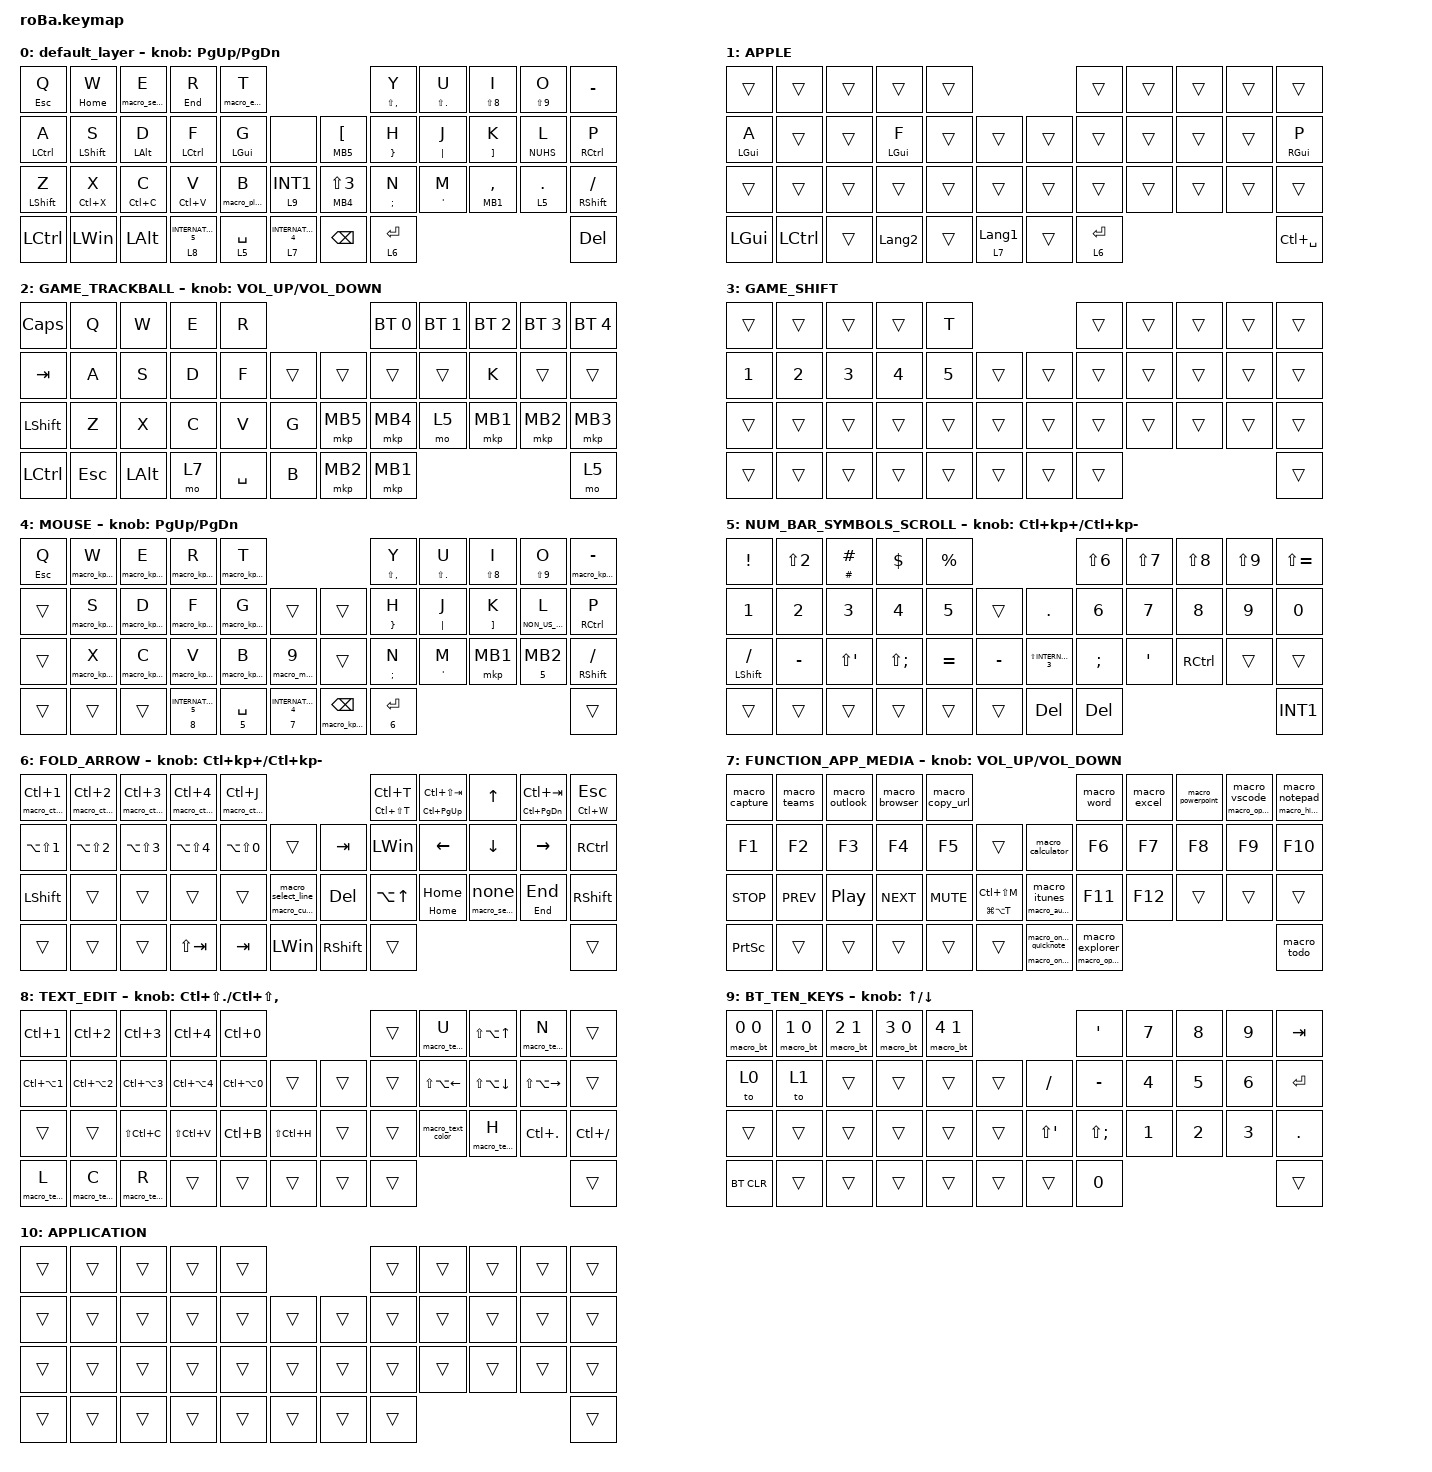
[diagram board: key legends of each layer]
#include <behaviors.dtsi>
#include <dt-bindings/zmk/bt.h>
#include <dt-bindings/zmk/keys.h>
#include <dt-bindings/zmk/pointing.h>

#define MOUSE 4
#define SCROLL 5
#define NUM 6

&mt {
    quick-tap-ms = <220>;
    tapping-term-ms = <220>;
    require-prior-idle-ms = <50>;
};

&lt { require-prior-idle-ms = <100>; };

/ {
    combos {
        compatible = "zmk,combos";

        combo_mb3 {
            bindings = <&mkp MB3>;
            key-positions = <32 30>;
            layers = <4 0 1>;
            require-prior-idle-ms = <80>;
        };

        combo_tog_tenkeys {
            bindings = <&tog 9>;
            key-positions = <1 2 3>;
            layers = <0 9 1 2 4>;
        };

        combo_tog_game_mode {
            bindings = <&tog 2>;
            key-positions = <6 7 8>;
            layers = <0 3 4 2>;
        };

        combo_search_in_browser {
            bindings = <&ap_search 0 0>;
            key-positions = <28 16>;
            require-prior-idle-ms = <150>;
            layers = <0 4>;
            timeout-ms = <150>;
        };

        combo_ctrl_left {
            bindings = <&kp LC(LEFT)>;
            key-positions = <18 19>;
            layers = <6>;
        };

        combo_ctrl_right {
            bindings = <&kp LC(RIGHT)>;
            key-positions = <19 20>;
            layers = <6>;
        };

        combo_f2 {
            bindings = <&kp F2>;
            key-positions = <1 0>;
            layers = <0 1 4>;
            timeout-ms = <120>;
        };

        combo_f3 {
            bindings = <&kp F3>;
            key-positions = <3 4>;
            layers = <0 1 4>;
        };

        combo_f5 {
            bindings = <&kp F5>;
            key-positions = <5 6>;
            layers = <0 1 4>;
            require-prior-idle-ms = <150>;
        };

        combo_doublequate {
            bindings = <&kp LS(N2)>;
            key-positions = <30 31>;
            layers = <0 1 4>;
        };

        combo_underscore {
            bindings = <&kp LS(INTERNATIONAL_1)>;
            key-positions = <32 33>;
            layers = <0 1 4>;
        };

        combo_ctrl_z {
            bindings = <&kp LC(Z)>;
            key-positions = <22 23>;
            layers = <0 4>;
            timeout-ms = <300>;
        };

        combo_ctrl_x {
            bindings = <&kp LC(X)>;
            key-positions = <23 24>;
            layers = <0 4>;
            timeout-ms = <200>;
        };

        combo_ctrl_c {
            bindings = <&kp LC(C)>;
            key-positions = <11 12>;
            layers = <0 4>;
            timeout-ms = <150>;
        };

        combo_ctrl_v {
            bindings = <&kp LC(V)>;
            key-positions = <12 13>;
            layers = <0 4>;
            timeout-ms = <150>;
        };

        combo_ctrl_a {
            bindings = <&kp LC(A)>;
            key-positions = <0 10>;
            require-prior-idle-ms = <200>;
            layers = <0 4>;
            timeout-ms = <150>;
        };

        combo_win_v {
            bindings = <&kp LG(V)>;
            key-positions = <13 14>;
            require-prior-idle-ms = <100>;
            layers = <0 4>;
            timeout-ms = <150>;
        };

        combo_paste_plain_text {
            bindings = <&macro_plain_text>;
            key-positions = <24 25>;
            require-prior-idle-ms = <200>;
            layers = <0 4>;
            timeout-ms = <150>;
        };

        combo_capslock {
            bindings = <&kp LS(CAPS)>;
            key-positions = <0 34>;
            layers = <0 1 4>;
            timeout-ms = <150>;
        };

        combo_teams_rich_textbox {
            bindings = <&kp LC(LS(X))>;
            key-positions = <0 9>;
            require-prior-idle-ms = <120>;
            layers = <0 4>;
            timeout-ms = <150>;
        };

        combo_alt_f4 {
            bindings = <&kp LA(F4)>;
            key-positions = <9 42>;
            layers = <0 4>;
            require-prior-idle-ms = <400>;
        };

        combo_mouse_move_window {
            bindings = <&macro_mouse_move_window>;
            key-positions = <6 8>;
            require-prior-idle-ms = <200>;
            layers = <6 4>;
        };

        combo_mouse_window_rd {
            bindings = <&macro_mouse_window_rd>;
            key-positions = <8 7>;
            require-prior-idle-ms = <200>;
            layers = <6 4>;
        };

        combo_mouse_window_ul {
            bindings = <&macro_mouse_window_ul>;
            key-positions = <6 7>;
            require-prior-idle-ms = <200>;
            layers = <6 4>;
        };

        combo_max_windows {
            bindings = <&kp LG(UP_ARROW)>;
            key-positions = <8 9>;
            require-prior-idle-ms = <200>;
            layers = <0 4>;
            timeout-ms = <120>;
        };

        combo_min_window {
            bindings = <&kp LG(DOWN)>;
            key-positions = <21 20>;
            require-prior-idle-ms = <200>;
            layers = <0 4>;
            timeout-ms = <120>;
        };

        combo_repop_window {
            bindings = <&kp LA(TAB)>;
            key-positions = <21 9>;
            layers = <0 4>;
            timeout-ms = <150>;
        };

        combo_snap_right_window {
            bindings = <&kp LG(RIGHT)>;
            key-positions = <9 8>;
            layers = <6>;
        };

        combo_snap_left_window {
            bindings = <&kp LG(LEFT)>;
            key-positions = <5 6>;
            layers = <6>;
        };

        combo_window_spin_move {
            bindings = <&kp LS(LG(LEFT))>;
            key-positions = <20 18>;
            layers = <6>;
        };

        combo_select_window_right {
            bindings = <&kp LC(LA(TAB))>;
            key-positions = <32 31>;
            layers = <6>;
        };

        combo_select_window_left {
            bindings = <&kp LC(LS(LA(TAB)))>;
            key-positions = <31 30>;
            layers = <6>;
        };

        combo_savein_million {
            bindings = <&macro_savein_million>;
            key-positions = <17 18>;
            timeout-ms = <300>;
            layers = <6>;
        };

        combo_savein_takane {
            bindings = <&macro_savein_takane>;
            key-positions = <29 30>;
            timeout-ms = <150>;
            layers = <6>;
        };

        combo_savein_miki {
            bindings = <&macro_savein_miki>;
            key-positions = <17 16>;
            timeout-ms = <150>;
            layers = <6>;
        };

        combo_multi {
            bindings = <&macro_savein_multi>;
            key-positions = <29 28>;
            timeout-ms = <150>;
            layers = <6>;
        };

        combo_search {
            bindings = <&macro_copy_search_internet>;
            key-positions = <16 28>;
            layers = <6>;
            timeout-ms = <120>;
        };

        combo_clear_all_profiles {
            bindings = <&bt BT_CLR_ALL>;
            key-positions = <34 36>;
            layers = <9>;
            require-prior-idle-ms = <200>;
        };

        combo_ctrl_scroll {
            bindings = <&macro_ctrl_scroll 5>;
            key-positions = <32 31>;
            require-prior-idle-ms = <80>;
            layers = <4 0 1>;
        };
    };

    macros {
        to_layer_0: to_layer_0 {
            compatible = "zmk,behavior-macro-one-param";
            #binding-cells = <1>;
            bindings = <&to 0 &macro_param_1to1 &kp MACRO_PLACEHOLDER>;
            label = "TO_LAYER_0";
        };

        to_layer_1: to_layer_1 {
            compatible = "zmk,behavior-macro-one-param";
            #binding-cells = <1>;
            bindings = <&to 1 &macro_param_1to1 &kp MACRO_PLACEHOLDER>;
            label = "TO_LAYER_1";
        };

        macro_mkp_tap: macro_mkp_tap {
            compatible = "zmk,behavior-macro-one-param";
            #binding-cells = <1>;
            bindings = <&macro_param_1to1 &mkp MACRO_PLACEHOLDER>;
            label = "MACRO_MKP_TAP";
        };

        macro_kp_tap: macro_kp_tap {
            compatible = "zmk,behavior-macro-one-param";
            #binding-cells = <1>;
            bindings = <&macro_param_1to1 &kp MACRO_PLACEHOLDER>;
            label = "MACRO_KP_TAP";
        };

        macro_bt: macro_bt {
            compatible = "zmk,behavior-macro-two-param";
            #binding-cells = <2>;
            bindings = <&macro_param_1to2 &bt BT_SEL MACRO_PLACEHOLDER &macro_param_2to1 &to MACRO_PLACEHOLDER>;
            label = "MACRO_BT";
        };

        macro_mouse_move_window: macro_mouse_move_window {
            compatible = "zmk,behavior-macro";
            #binding-cells = <0>;
            bindings =
                <&kp INTERNATIONAL_5 &kp LA(SPACE)>,
                <&macro_wait_time 150>,
                <&kp M &kp UP_ARROW &kp DOWN_ARROW>;

            label = "MACRO_MOUSE_MOVE_WINDOW";
        };

        macro_mouse_window_ul: macro_mouse_window_ul {
            compatible = "zmk,behavior-macro";
            #binding-cells = <0>;
            bindings =
                <&kp INTERNATIONAL_5 &kp LA(SPACE)>,
                <&macro_wait_time 150>,
                <&kp S &kp LEFT_ARROW &kp UP_ARROW>;

            label = "MACRO_MOUSE_WINDOW_UL";
        };

        macro_mouse_window_rd: macro_mouse_window_rd {
            compatible = "zmk,behavior-macro";
            #binding-cells = <0>;
            bindings =
                <&kp INTERNATIONAL_5 &kp LA(SPACE)>,
                <&macro_wait_time 150>,
                <&kp S &kp RIGHT &kp DOWN_ARROW>;

            label = "MACRO_MOUSE_WINDOW_RD";
        };

        macro_plain_text: macro_plain_text {
            compatible = "zmk,behavior-macro";
            #binding-cells = <0>;
            bindings =
                <&kp LG(V)>,
                <&macro_wait_time 450>,
                <&kp LCTRL &kp TAB>,
                <&macro_wait_time 150>,
                <&kp LCTRL &kp ENTER>,
                <&macro_wait_time 200>,
                <&kp LCTRL &kp ENTER>;

            label = "MACRO_PLAIN_TEXT";
        };

        macro_brackets: macro_brackets {
            compatible = "zmk,behavior-macro";
            #binding-cells = <0>;
            bindings = <&kp RIGHT_BRACKET &kp NUHS &kp LEFT>;
            label = "MACRO_BRACKETS";
        };

        macro_braces: macro_braces {
            compatible = "zmk,behavior-macro";
            #binding-cells = <0>;
            bindings = <&kp RIGHT_BRACE &kp PIPE &kp LEFT>;
            label = "MACRO_BRACES";
        };

        macro_parenthesis: macro_parenthesis {
            compatible = "zmk,behavior-macro";
            #binding-cells = <0>;
            bindings = <&kp LS(N8) &kp LS(N9) &kp LEFT>;
            label = "MACRO_PARENTHESIS";
        };

        macro_gt_lt: macro_gt_lt {
            compatible = "zmk,behavior-macro";
            #binding-cells = <0>;
            bindings = <&kp LS(COMMA) &kp LS(PERIOD) &kp LEFT>;
            label = "MACRO_GT_LT";
        };

        macro_home_end_select: macro_home_end_select {
            compatible = "zmk,behavior-macro-one-param";
            #binding-cells = <1>;
            bindings = <&kt LEFT_SHIFT &macro_param_1to1 &kp MACRO_PLACEHOLDER &kt LEFT_SHIFT &kp LC(C)>;
            label = "MACRO_HOME_END_SELECT";
        };

        macro_select_line: macro_select_line {
            compatible = "zmk,behavior-macro";
            #binding-cells = <0>;
            bindings = <&kp HOME &kt LEFT_SHIFT &kp END &kt LEFT_SHIFT &kp LC(C)>;
            label = "MACRO_SELECT_LINE";
        };

        macro_emacs_k_cut: macro_emacs_k_cut {
            compatible = "zmk,behavior-macro";
            #binding-cells = <0>;
            bindings = <&kt LEFT_SHIFT &kp END &kt LEFT_SHIFT &kp LC(X)>;
            label = "MACRO_EMACS_K_CUT";
        };

        macro_cut_line: macro_cut_line {
            compatible = "zmk,behavior-macro";
            #binding-cells = <0>;
            bindings = <&kp HOME &kt LEFT_SHIFT &kp END &kp RIGHT &kt LEFT_SHIFT &kp LC(X)>;
            label = "MACRO_CUT_LINE";
        };

        macro_insert_at_head: macro_insert_at_head {
            compatible = "zmk,behavior-macro-one-param";
            #binding-cells = <1>;
            bindings = <&kp INTERNATIONAL_5 &kt LEFT_SHIFT &kp HOME &kt LEFT_SHIFT &kp LC(X) &macro_param_1to1 &kp MACRO_PLACEHOLDER &kp SPACE &kp LC(V)>;
            label = "MACRO_INSERT_AT_HEAD";
        };

        macro_delete_at_head: macro_delete_at_head {
            compatible = "zmk,behavior-macro";
            #binding-cells = <0>;
            bindings = <&kp INTERNATIONAL_5 &kt LEFT_SHIFT &kp HOME &kp RIGHT &kp RIGHT &kt LSHFT &kp LC(X) &kp BACKSPACE &kp BACKSPACE &kp LC(V)>;
            label = "MACRO_DELETE_AT_HEAD";
        };

        macro_ascii_type: macro_ascii_type {
            compatible = "zmk,behavior-macro-one-param";
            #binding-cells = <1>;
            bindings = <&kp INT_MUHENKAN &macro_param_1to1 &kp MACRO_PLACEHOLDER>;
            label = "MACRO_ASCII_TYPE";
        };

        macro_kp_togoff: macro_kp_togoff {
            compatible = "zmk,behavior-macro-one-param";
            #binding-cells = <1>;
            bindings = <&togoff 4 &macro_param_1to1 &kp MACRO_PLACEHOLDER>;
            label = "MACRO_KP_TOGOFF";
        };

        macro_mkp_togoff: macro_mkp_togoff {
            compatible = "zmk,behavior-macro-one-param";
            #binding-cells = <1>;
            bindings = <&togoff 4 &macro_param_1to1 &mkp MACRO_PLACEHOLDER>;
            label = "MACRO_MKP_TOGOFF";
        };

        macro_copy_url: macro_copy_url {
            compatible = "zmk,behavior-macro";
            #binding-cells = <0>;
            bindings = <&kp LC(L) &kp LC(C) &kp ESCAPE>;
            label = "MACRO_COPY_URL";
        };

        macro_text_color: macro_text_color {
            compatible = "zmk,behavior-macro";
            #binding-cells = <0>;
            bindings =
                <&kp LA(H)>,
                <&macro_wait_time 50>,
                <&kp F &kp C &kp DOWN_ARROW &kp DOWN_ARROW &kp DOWN_ARROW &kp DOWN &kp DOWN_ARROW &kp DOWN>;

            label = "MACRO_TEXT_COLOR";
        };

        macro_text_align: macro_text_align {
            compatible = "zmk,behavior-macro-one-param";
            #binding-cells = <1>;
            bindings =
                <&kp LA(H)>,
                <&macro_wait_time 50>,
                <&kp A &macro_param_1to1 &kp MACRO_PLACEHOLDER>;

            label = "MACRO_TEXT_ALIGN";
        };

        macro_text_deco: macro_text_deco {
            compatible = "zmk,behavior-macro-one-param";
            #binding-cells = <1>;
            bindings =
                <&kp LA(H)>,
                <&macro_wait_time 50>,
                <&macro_param_1to1 &kp MACRO_PLACEHOLDER>;

            label = "MACRO_TEXT_DECO";
        };

        macro_ctrl_k_kp: macro_ctrl_k_ctrl {
            compatible = "zmk,behavior-macro-one-param";
            #binding-cells = <1>;
            bindings = <&kp LC(K) &macro_param_1to1 &kp MACRO_PLACEHOLDER>;
            label = "MACRO_CTRL_K_CTRL";
        };

        macro_mo_togoff: macro_mo_togoff {
            compatible = "zmk,behavior-macro-one-param";
            #binding-cells = <1>;
            bindings =
                <&macro_press>,
                <&macro_param_1to1 &mo MACRO_PLACEHOLDER>,
                <&macro_pause_for_release>,
                <&macro_release>,
                <&macro_param_1to1 &mo MACRO_PLACEHOLDER>,
                <&macro_tap>,
                <&togoff 4>;

            label = "MACRO_MO_TOGOFF";
        };

        macro_togoff_tog: macro_togoff_tog {
            compatible = "zmk,behavior-macro-one-param";
            #binding-cells = <1>;
            bindings = <&togoff 4 &macro_param_1to1 &tog MACRO_PLACEHOLDER>;
            label = "MACRO_TOGOFF_TOG";
        };

        macro_mkp_togoff_sl: macro_mkp_togoff_sl {
            compatible = "zmk,behavior-macro-one-param";
            #binding-cells = <1>;
            bindings =
                <&macro_press>,
                <&macro_param_1to1 &mkp MACRO_PLACEHOLDER>,
                <&macro_pause_for_release>,
                <&macro_release>,
                <&macro_param_1to1 &mkp MACRO_PLACEHOLDER>,
                <&macro_tap>,
                <&sl_short 4>;

            label = "MACRO_MKP_TOGOFF_SL";
        };

        macro_browser: macro_browser {
            compatible = "zmk,behavior-macro";
            #binding-cells = <0>;
            bindings =
                <&kp INTERNATIONAL_5 &kp LG(R)>,
                <&macro_wait_time 200>,
                <&kp LCTRL &kp H &kp T &kp T &kp P &kp SQT &kp FSLH &kp FSLH &kp ENTER>;

            label = "MACRO_BROWSER";
        };

        macro_calculator: macro_calculator {
            compatible = "zmk,behavior-macro";
            #binding-cells = <0>;
            bindings =
                <&kp INTERNATIONAL_5 &kp LG(R)>,
                <&macro_wait_time 200>,
                <&kp LCTRL &kp C &kp A &kp L &kp C &kp ENTER>;

            label = "MACRO_CALCULATOR";
        };

        macro_onenote: macro_onenote {
            compatible = "zmk,behavior-macro";
            #binding-cells = <0>;
            bindings =
                <&kp INTERNATIONAL_5 &kp LG(R)>,
                <&macro_wait_time 200>,
                <&kp LCTRL &kp O &kp N &kp E &kp N &kp O &kp T &kp E &kp ENTER>;

            label = "MACRO_ONENOTE";
        };

        macro_teams: macro_teams {
            compatible = "zmk,behavior-macro";
            #binding-cells = <0>;
            bindings =
                <&kp INTERNATIONAL_5 &kp LG(R)>,
                <&macro_wait_time 200>,
                <&kp LCTRL &kp M &kp S &kp MINUS &kp T &kp E &kp A &kp M &kp S &kp ENTER>;

            label = "MACRO_TEAMS";
        };

        macro_outlook: macro_outlook {
            compatible = "zmk,behavior-macro";
            #binding-cells = <0>;
            bindings =
                <&kp LG(R)>,
                <&macro_wait_time 200>,
                <&kp RCTRL &kp O &kp U &kp T &kp L &kp O &kp O &kp K &kp ENTER>;

            label = "MACRO_OUTLOOK";
        };

        macro_word: macro_word {
            compatible = "zmk,behavior-macro";
            #binding-cells = <0>;
            bindings =
                <&kp INTERNATIONAL_5 &kp LG(R)>,
                <&macro_wait_time 200>,
                <&kp LCTRL &kp W &kp I &kp N &kp W &kp O &kp R &kp D &kp ENTER>;

            label = "MACRO_WORD";
        };

        macro_excel: macro_app_excel {
            compatible = "zmk,behavior-macro";
            #binding-cells = <0>;
            bindings =
                <&kp INTERNATIONAL_5 &kp LG(R)>,
                <&macro_wait_time 200>,
                <&kp LCTRL &kp E &kp X &kp C &kp E &kp L &kp ENTER>;

            label = "MACRO_APP_EXCEL";
        };

        macro_powerpoint: macro_powerpoint {
            compatible = "zmk,behavior-macro";
            #binding-cells = <0>;
            bindings =
                <&kp INTERNATIONAL_5 &kp LG(R)>,
                <&macro_wait_time 200>,
                <&kp LCTRL &kp P &kp O &kp W &kp E &kp R &kp P &kp N &kp T &kp ENTER>;

            label = "MACRO_POWERPOINT";
        };

        macro_capture: macro_capture {
            compatible = "zmk,behavior-macro";
            #binding-cells = <0>;
            bindings =
                <&kp INTERNATIONAL_5 &kp LG(R)>,
                <&macro_wait_time 200>,
                <&kp LCTRL &kp S &kp N &kp I &kp P &kp P &kp I &kp N &kp G &kp T &kp O &kp O &kp L &kp ENTER>;

            label = "MACRO_CAPTURE";
        };

        macro_itunes: macro_itunes {
            compatible = "zmk,behavior-macro";
            #binding-cells = <0>;
            bindings =
                <&kp INTERNATIONAL_5 &kp LG(R)>,
                <&macro_wait_time 200>,
                <&kp LCTRL &kp I &kp T &kp U &kp N &kp E &kp S &kp ENTER>;

            label = "MACRO_ITUNES";
        };

        macro_vscode: macro_vscode {
            compatible = "zmk,behavior-macro";
            #binding-cells = <0>;
            bindings =
                <&kp INTERNATIONAL_5 &kp LG(R)>,
                <&macro_wait_time 200>,
                <&kp LCTRL &kp C &kp O &kp D &kp E &kp ENTER>;

            label = "MACRO_VSCODE";
        };

        macro_notepad: macro_notepad {
            compatible = "zmk,behavior-macro";
            #binding-cells = <0>;
            bindings =
                <&kp INTERNATIONAL_5 &kp LG(R)>,
                <&macro_wait_time 200>,
                <&kp LCTRL &kp N &kp O &kp T &kp E &kp P &kp A &kp D &kp ENTER>;

            label = "MACRO_NOTEPAD";
        };

        macro_hidemaru: macro_hidemaru {
            compatible = "zmk,behavior-macro";
            #binding-cells = <0>;
            bindings =
                <&kp LC(C) &kp INTERNATIONAL_5 &kp LG(R)>,
                <&macro_wait_time 200>,
                <&kp LCTRL &kp H &kp I &kp D &kp E &kp M &kp A &kp R &kp U &kp ENTER>,
                <&macro_wait_time 200>,
                <&kp LC(V)>;

            label = "MACRO_HIDEMARU";
        };

        macro_audirvana: macro_audirvana {
            compatible = "zmk,behavior-macro";
            #binding-cells = <0>;
            bindings =
                <&kp INTERNATIONAL_5 &kp LG(R)>,
                <&macro_wait_time 200>,
                <&kp LCTRL &kp A &kp U &kp D &kp I &kp R &kp V &kp A &kp N &kp A &kp ENTER>;

            label = "MACRO_AUDIRVANA";
        };

        macro_todo: macro_todo {
            compatible = "zmk,behavior-macro";
            #binding-cells = <0>;
            bindings =
                <&kp INTERNATIONAL_5 &kp LG(R)>,
                <&macro_wait_time 200>,
                <&kp LCTRL &kp T &kp O &kp D &kp O &kp ENTER>;

            label = "MACRO_TODO";
        };

        macro_copy_search_internet: macro_copy_search_internet {
            compatible = "zmk,behavior-macro";
            #binding-cells = <0>;
            bindings =
                <&kp LC(C) &kp LG(R)>,
                <&macro_wait_time 200>,
                <&kp LCTRL &kp H &kp T &kp T &kp P &kp SQT &kp FSLH &kp FSLH &kp G &kp O &kp O &kp G &kp L &kp E &kp DOT &kp C &kp O &kp M &kp FSLH &kp S &kp E &kp A &kp R &kp C &kp H &kp LS(SLASH) &kp Q &kp LS(MINUS) &kp LC(V) &kp ENTER>;

            label = "MACRO_COPY_SEARCH_INTERNET";
        };

        macro_copy_search_in_app: macro_copy_search_in_app {
            compatible = "zmk,behavior-macro";
            #binding-cells = <0>;
            bindings = <&kp LC(C) &kp LC(E) &kp LC(V) &kp ENTER>;
            label = "MACRO_COPY_SEARCH_IN_APP";
        };

        macro_onenote_quicknote: macro_onenote_quicknote {
            compatible = "zmk,behavior-macro";
            #binding-cells = <0>;
            bindings = <&kp LA(LG(N))>;
            label = "MACRO_ONENOTE_QUICKNOTE";
        };

        macro_open_in_vscode: macro_open_in_vscode {
            compatible = "zmk,behavior-macro";
            #binding-cells = <0>;
            bindings =
                <&kp K_CMENU &kp RCTRL>,
                <&macro_wait_time 400>,
                <&kp RCTRL &kp UP_ARROW &kp ENTER>,
                <&macro_wait_time 250>,
                <&kp RCTRL &kp C>;

            label = "MACRO_OPEN_IN_VSCODE";
        };

        macro_open_in_sharepoint: macro_open_in_sharepoint {
            compatible = "zmk,behavior-macro";
            #binding-cells = <0>;
            bindings =
                <&kp K_CMENU &kp RCTRL>,
                <&macro_wait_time 400>,
                <&kp RCTRL &kp UP_ARROW &kp ENTER>,
                <&macro_wait_time 250>,
                <&kp RCTRL &kp V &kp V &kp ENTER>;

            label = "MACRO_OPEN_IN_SHAREPOINT";
        };

        macro_explorer: macro_explorer {
            compatible = "zmk,behavior-macro";
            #binding-cells = <0>;
            bindings = <&kp LG(E)>;
            label = "MACRO_EXPLORER";
        };

        macro_savein_million: macro_savein_million {
            compatible = "zmk,behavior-macro";
            #binding-cells = <0>;
            bindings =
                <&mkp MB2>,
                <&macro_wait_time 50>,
                <&kp E &kp DOWN_ARROW>;

            label = "MACRO_SAVEIN_MILLION";
        };

        macro_savein_takane: macro_savein_takane {
            compatible = "zmk,behavior-macro";
            #binding-cells = <0>;
            bindings =
                <&mkp MB2>,
                <&macro_wait_time 50>,
                <&kp E &kp DOWN_ARROW &kp DOWN_ARROW &kp DOWN_ARROW &kp DOWN_ARROW &kp DOWN_ARROW &kp DOWN_ARROW &kp DOWN_ARROW>;

            label = "MACRO_SAVEIN_TAKANE";
        };

        macro_savein_miki: macro_savein_miki {
            compatible = "zmk,behavior-macro";
            #binding-cells = <0>;
            bindings =
                <&mkp MB2>,
                <&macro_wait_time 50>,
                <&kp E &kp DOWN_ARROW &kp DOWN_ARROW &kp DOWN_ARROW &kp DOWN_ARROW &kp DOWN_ARROW &kp DOWN_ARROW &kp DOWN_ARROW &kp DOWN_ARROW &kp DOWN &kp DOWN_ARROW &kp DOWN_ARROW &kp DOWN_ARROW>;

            label = "MACRO_SAVEIN_MIKI";
        };

        macro_savein_multi: macro_savein_multi {
            compatible = "zmk,behavior-macro";
            #binding-cells = <0>;
            bindings =
                <&mkp MB2>,
                <&macro_wait_time 50>,
                <&kp E &kp DOWN_ARROW &kp DOWN_ARROW &kp DOWN_ARROW &kp DOWN_ARROW &kp DOWN_ARROW &kp DOWN_ARROW &kp DOWN_ARROW &kp DOWN_ARROW &kp DOWN &kp DOWN_ARROW &kp DOWN_ARROW &kp DOWN_ARROW &kp DOWN_ARROW &kp DOWN_ARROW &kp DOWN_ARROW &kp DOWN_ARROW &kp DOWN_ARROW &kp DOWN_ARROW &kp DOWN_ARROW>;

            label = "MACRO_SAVEIN_MULTI";
        };

        macro_ctrl_scroll: macro_ctrl_scroll {
            compatible = "zmk,behavior-macro-one-param";
            #binding-cells = <1>;
            bindings =
                <&macro_press>,
                <&kp LCTRL &macro_param_1to1 &mo MACRO_PLACEHOLDER>,
                <&macro_pause_for_release>,
                <&macro_release>,
                <&macro_param_1to1 &mo MACRO_PLACEHOLDER &kp LCTRL>;

            label = "MACRO_CTRL_SCROLL";
        };

        to_layer_2: to_layer_2 {
            compatible = "zmk,behavior-macro-one-param";
            #binding-cells = <1>;
            bindings = <&to 2 &macro_param_1to1 &kp MACRO_PLACEHOLDER>;
            label = "TO_LAYER_2";
        };
    };

    behaviors {
        mmb: mmb {
            compatible = "zmk,behavior-hold-tap";
            label = "MMB";
            bindings = <&macro_mkp_tap>, <&kp>;

            #binding-cells = <2>;
            tapping-term-ms = <200>;
            flavor = "tap-preferred";
            require-prior-idle-ms = <150>;
        };

        lt_hold_qt: lt_hold_qt {
            compatible = "zmk,behavior-hold-tap";
            label = "LT_HOLD_QT";
            bindings = <&mo>, <&kp>;

            #binding-cells = <2>;
            tapping-term-ms = <220>;
            require-prior-idle-ms = <50>;
            quick-tap-ms = <200>;
        };

        lt_tap_qt: lt_tap_qt {
            compatible = "zmk,behavior-hold-tap";
            label = "LT_TAP_QT";
            bindings = <&mo>, <&kp>;

            #binding-cells = <2>;
            tapping-term-ms = <220>;
            quick-tap-ms = <200>;
            require-prior-idle-ms = <50>;
            flavor = "tap-preferred";
        };

        mt_norepeat: mt_norepeat {
            compatible = "zmk,behavior-hold-tap";
            label = "MT_NOREPEAT";
            bindings = <&macro_kp_tap>, <&kp>;

            #binding-cells = <2>;
            tapping-term-ms = <280>;
            flavor = "tap-preferred";
            require-prior-idle-ms = <60>;
        };

        mt_long: mt_long {
            compatible = "zmk,behavior-hold-tap";
            label = "MT_LONG";
            bindings = <&kp>, <&kp>;

            #binding-cells = <2>;
            tapping-term-ms = <300>;
            flavor = "tap-preferred";
            retro-tap;
            require-prior-idle-ms = <120>;
        };

        togoff: togoff {
            compatible = "zmk,behavior-toggle-layer";
            label = "TOGOFF";
            #binding-cells = <1>;
            toggle-mode = "off";
        };

        sl_short: sl_short {
            compatible = "zmk,behavior-sticky-key";
            label = "SL_SHORT";
            bindings = <&mo>;
            #binding-cells = <1>;
            release-after-ms = <300>;
            quick-release;
        };

        lt_layer: lt_layer {
            compatible = "zmk,behavior-hold-tap";
            label = "LT_LAYER";
            bindings = <&mo>, <&tog>;

            #binding-cells = <2>;
            tapping-term-ms = <200>;
        };

        lt_togoff: lt_togoff {
            compatible = "zmk,behavior-hold-tap";
            label = "LT_TOGOFF";
            bindings = <&macro_mo_togoff>, <&macro_kp_togoff>;

            #binding-cells = <2>;
            tapping-term-ms = <200>;
        };

        mt_togoff: mt_togoff {
            compatible = "zmk,behavior-hold-tap";
            label = "MT_TOGOFF";
            bindings = <&macro_kp_togoff>, <&macro_kp_togoff>;

            #binding-cells = <2>;
            tapping-term-ms = <250>;
            flavor = "tap-preferred";
            require-prior-idle-ms = <60>;
        };

        lt_mkp_togoff: lt_mkp_togoff {
            compatible = "zmk,behavior-hold-tap";
            label = "LT_MKP_TOGOFF";
            bindings = <&macro_mo_togoff>, <&macro_mkp_togoff_sl>;

            #binding-cells = <2>;
            tapping-term-ms = <120>;
        };

        lt_layer_togoff: lt_layer_togoff {
            compatible = "zmk,behavior-hold-tap";
            label = "LT_LAYER_TOGOFF";
            bindings = <&macro_mo_togoff>, <&macro_togoff_tog>;

            #binding-cells = <2>;
            tapping-term-ms = <200>;
        };

        lt_to_layer_0: lt_to_layer_0 {
            compatible = "zmk,behavior-hold-tap";
            label = "LAYER_TAP_TO_0";
            bindings = <&mo>, <&to_layer_0>;

            #binding-cells = <2>;
            tapping-term-ms = <140>;
        };

        lt_to_layer_1: lt_to_layer_1 {
            compatible = "zmk,behavior-hold-tap";
            label = "LT_TO_LAYER_1";
            bindings = <&mo>, <&to_layer_1>;

            #binding-cells = <2>;
            tapping-term-ms = <140>;
        };

        sc_sel_line: sc_sel_line {
            compatible = "zmk,behavior-hold-tap";
            label = "SC_SEL_LINE";
            bindings = <&macro_select_line>, <&kp>;

            #binding-cells = <2>;
            tapping-term-ms = <250>;
            flavor = "tap-preferred";
            require-prior-idle-ms = <60>;
        };

        sc_sel_line_none: sc_sel_line_none {
            compatible = "zmk,behavior-hold-tap";
            label = "SC_SEL_LINE_NONE";
            bindings = <&macro_select_line>, <&none>;

            #binding-cells = <2>;
            tapping-term-ms = <400>;
            flavor = "tap-preferred";
        };

        sc_emacs: sc_emacs {
            compatible = "zmk,behavior-hold-tap";
            label = "SC_EMACS";
            bindings = <&macro_emacs_k_cut>, <&kp>;

            #binding-cells = <2>;
            tapping-term-ms = <250>;
            flavor = "tap-preferred";
            require-prior-idle-ms = <60>;
        };

        sc_sel_cut_line: sc_sel_cut_line {
            compatible = "zmk,behavior-hold-tap";
            label = "SC_SEL_CUT_LINE";
            bindings = <&macro_cut_line>, <&macro_select_line>;

            #binding-cells = <2>;
            tapping-term-ms = <250>;
            flavor = "tap-preferred";
            require-prior-idle-ms = <60>;
        };

        mat_inset_at_head: mat_inset_at_head {
            compatible = "zmk,behavior-hold-tap";
            label = "MAT_INSET_AT_HEAD";
            bindings = <&macro_insert_at_head>, <&kp>;

            #binding-cells = <2>;
            tapping-term-ms = <200>;
            flavor = "tap-preferred";
            require-prior-idle-ms = <100>;
        };

        mat_home_end_select: mat_home_end_select {
            compatible = "zmk,behavior-hold-tap";
            label = "MAT_HOME_END_SELECT";
            bindings = <&macro_home_end_select>, <&kp>;

            #binding-cells = <2>;
            tapping-term-ms = <200>;
            flavor = "tap-preferred";
        };

        sc_brace: sc_brace {
            compatible = "zmk,behavior-hold-tap";
            label = "SC_BRACE";
            bindings = <&macro_braces>, <&kp>;

            #binding-cells = <2>;
            tapping-term-ms = <150>;
            flavor = "tap-preferred";
        };

        sc_bracket: sc_bracket {
            compatible = "zmk,behavior-hold-tap";
            label = "SC_BRACKET";
            bindings = <&macro_brackets>, <&kp>;

            #binding-cells = <2>;
            tapping-term-ms = <200>;
            flavor = "tap-preferred";
        };

        sc_parenthesis: sc_parenthesis {
            compatible = "zmk,behavior-hold-tap";
            label = "SC_PARENTHESIS";
            bindings = <&macro_parenthesis>, <&kp>;

            #binding-cells = <2>;
            tapping-term-ms = <200>;
            flavor = "tap-preferred";
        };

        sc_gt_lt: sc_gt_lt {
            compatible = "zmk,behavior-hold-tap";
            label = "SC_GT_LT";
            bindings = <&macro_gt_lt>, <&kp>;

            #binding-cells = <2>;
            tapping-term-ms = <150>;
            flavor = "tap-preferred";
        };

        ap_music: ap_music {
            compatible = "zmk,behavior-hold-tap";
            label = "AP_MUSIC";
            bindings = <&macro_audirvana>, <&macro_itunes>;

            #binding-cells = <2>;
            tapping-term-ms = <400>;
            flavor = "tap-preferred";
        };

        ap_onenote: ap_onenote {
            compatible = "zmk,behavior-hold-tap";
            label = "AP_ONENOTE";
            bindings = <&macro_onenote>, <&macro_onenote_quicknote>;

            #binding-cells = <2>;
            tapping-term-ms = <400>;
            require-prior-idle-ms = <50>;
            flavor = "tap-preferred";
        };

        ap_editor: ap_editor {
            compatible = "zmk,behavior-hold-tap";
            label = "AP_EDITOR";
            bindings = <&macro_hidemaru>, <&macro_notepad>;

            #binding-cells = <2>;
            tapping-term-ms = <400>;
            require-prior-idle-ms = <50>;
            flavor = "tap-preferred";
        };

        ap_vscode: ap_vscode {
            compatible = "zmk,behavior-hold-tap";
            label = "AP_VSCODE";
            bindings = <&macro_open_in_vscode>, <&macro_vscode>;

            #binding-cells = <2>;
            tapping-term-ms = <400>;
            require-prior-idle-ms = <50>;
            flavor = "tap-preferred";
        };

        ap_explorer: ap_explorer {
            compatible = "zmk,behavior-hold-tap";
            label = "AP_EXPLORER";
            bindings = <&macro_open_in_sharepoint>, <&macro_explorer>;

            #binding-cells = <2>;
            tapping-term-ms = <400>;
            require-prior-idle-ms = <50>;
            flavor = "tap-preferred";
        };

        ap_search: ap_search {
            compatible = "zmk,behavior-hold-tap";
            label = "AP_SEARCH";
            bindings =
                <&macro_copy_search_internet>,
                <&macro_copy_search_in_app>;

            #binding-cells = <2>;
            tapping-term-ms = <400>;
            flavor = "tap-preferred";
            require-prior-idle-ms = <200>;
        };

        mt_z: mt_z {
            compatible = "zmk,behavior-hold-tap";
            label = "MT_Z";
            bindings = <&kp>, <&kp>;

            #binding-cells = <2>;
            tapping-term-ms = <170>;
            require-prior-idle-ms = <70>;
            flavor = "balanced";
        };

        mmb_short_hold: mmb_short_hold {
            compatible = "zmk,behavior-hold-tap";
            label = "MMB_SHORT_HOLD";
            bindings = <&macro_mkp_tap>, <&kp>;

            #binding-cells = <2>;
            tapping-term-ms = <50>;
            flavor = "tap-preferred";
            require-prior-idle-ms = <1000>;
        };

        lt_scroll: lt_scroll {
            compatible = "zmk,behavior-hold-tap";
            label = "LT_SCROLL";
            bindings = <&mo>, <&kp>;

            #binding-cells = <2>;
            tapping-term-ms = <50>;
            require-prior-idle-ms = <820>;
        };

        mt_modkey: mt_modkey {
            compatible = "zmk,behavior-hold-tap";
            label = "MT_MODKEY";
            bindings = <&kp>, <&kp>;

            #binding-cells = <2>;
            tapping-term-ms = <280>;
            flavor = "hold-preferred";
        };

        sc_plain_text: sc_plain_text {
            compatible = "zmk,behavior-hold-tap";
            label = "SC_PLAIN_TEXT";
            bindings = <&macro_plain_text>, <&kp>;

            #binding-cells = <2>;
            tapping-term-ms = <280>;
            flavor = "tap-preferred";
            require-prior-idle-ms = <60>;
        };
    };

    keymap {
        compatible = "zmk,keymap";

        default_layer {
            bindings = <
&mt ESCAPE Q        &mat_home_end_select HOME W  &sc_sel_line 0 E      &mat_home_end_select END R        &sc_emacs 0 T                                                                     &mt_norepeat LS(COMMA) Y    &mt_norepeat LS(DOT) U       &mt_norepeat LS(N8) I         &mt_norepeat LS(N9) O  &kp MINUS
&mt_long LCTRL A    &mt_long LEFT_SHIFT S        &mt_long LEFT_ALT D   &mt_long LEFT_CONTROL F           &mt_long LEFT_GUI G  &none                                 &mmb MB5 LEFT_BRACKET  &mt_norepeat RIGHT_BRACE H  &mt_norepeat PIPE J          &mt_norepeat RIGHT_BRACKET K  &mt_norepeat NUHS L    &mt_long RCTRL P
&mt_z LEFT_SHIFT Z  &mt_norepeat LC(X) X         &mt_norepeat LC(C) C  &mt_norepeat LC(V) V              &sc_plain_text 0 B   &lt 9 INT1                            &mmb MB4 LS(N3)        &mt_norepeat SEMI N         &mt_norepeat SINGLE_QUOTE M  &mmb_short_hold MB1 COMMA     &lt_scroll 5 DOT       &mt RIGHT_SHIFT SLASH
&kp LCTRL           &kp LEFT_WIN                 &kp LEFT_ALT          &lt_to_layer_0 8 INTERNATIONAL_5  &lt_hold_qt 5 SPACE  &lt_to_layer_0 7 INTERNATIONAL_4      &kp BACKSPACE          &lt_to_layer_0 6 RET                                                                                          &kp DEL
            >;

            sensor-bindings = <&inc_dec_kp PG_UP PAGE_DOWN>;
        };

        APPLE {
            bindings = <
&trans               &trans     &trans  &trans               &trans                                           &trans                  &trans  &trans  &trans  &trans
&mt_long LEFT_GUI A  &trans     &trans  &mt_long LEFT_GUI F  &trans  &trans                           &trans  &trans                  &trans  &trans  &trans  &mt_long RIGHT_GUI P
&trans               &trans     &trans  &trans               &trans  &trans                           &trans  &trans                  &trans  &trans  &trans  &trans
&kp LEFT_GUI         &kp LCTRL  &trans  &kp LANGUAGE_2       &trans  &lt_to_layer_1 7 LANGUAGE_1      &trans  &lt_to_layer_1 6 ENTER                          &kp LC(SPACE)
            >;
        };

        GAME_TRACKBALL {
            bindings = <
&kp CAPS   &kp Q    &kp W         &kp E  &kp R                            &bt BT_SEL 0  &bt BT_SEL 1  &bt BT_SEL 2  &bt BT_SEL 3  &bt BT_SEL 4
&kp TAB    &kp A    &kp S         &kp D  &kp F      &trans      &trans    &trans        &trans        &kp K         &trans        &trans
&kp LSHFT  &kp Z    &kp X         &kp C  &kp V      &kp G       &mkp MB5  &mkp MB4      &mo 5         &mkp MB1      &mkp MB2      &mkp MB3
&kp LCTRL  &kp ESC  &kp LEFT_ALT  &mo 7  &kp SPACE  &kp B       &mkp MB2  &mkp MB1                                                &mo 5
            >;

            sensor-bindings = <&inc_dec_kp C_VOLUME_UP C_VOLUME_DOWN>;
        };

        GAME_SHIFT {
            bindings = <
&trans  &trans  &trans  &trans  &kp T                       &trans  &trans  &trans  &trans  &trans
&kp N1  &kp N2  &kp N3  &kp N4  &kp N5  &trans      &trans  &trans  &trans  &trans  &trans  &trans
&trans  &trans  &trans  &trans  &trans  &trans      &trans  &trans  &trans  &trans  &trans  &trans
&trans  &trans  &trans  &trans  &trans  &trans      &trans  &trans                          &trans
            >;
        };

        MOUSE {
            bindings = <
&mt_togoff ESCAPE Q  &macro_kp_togoff W  &macro_kp_togoff E  &macro_kp_togoff R            &macro_kp_togoff T                                                                &mt_togoff LS(COMMA) Y    &mt_togoff LS(PERIOD) U  &mt_togoff LS(N8) I         &mt_togoff LS(N9) O       &macro_kp_togoff MINUS
&trans               &macro_kp_togoff S  &macro_kp_togoff D  &macro_kp_togoff F            &macro_kp_togoff G  &trans                            &trans                      &mt_togoff RIGHT_BRACE H  &mt_togoff PIPE J        &mt_togoff RIGHT_BRACKET K  &mt_togoff NON_US_HASH L  &mt_modkey RCTRL P
&trans               &macro_kp_togoff X  &macro_kp_togoff C  &macro_kp_togoff V            &macro_kp_togoff B  &macro_mo_togoff 9                &trans                      &mt_togoff SEMI N         &mt_togoff SQT M         &mkp MB1                    &lt_mkp_togoff 5 MB2      &mt_modkey RIGHT_SHIFT SLASH
&trans               &trans              &trans              &lt_togoff 8 INTERNATIONAL_5  &lt_togoff 5 SPACE  &lt_togoff 7 INTERNATIONAL_4      &macro_kp_togoff BACKSPACE  &lt_togoff 6 RET                                                                                         &trans
            >;

            sensor-bindings = <&inc_dec_kp PAGE_UP PAGE_DOWN>;
        };

        NUM_BAR_SYMBOLS_SCROLL {
            bindings = <
&kp EXCLAMATION         &kp LS(N2)  &mat_inset_at_head HASH HASH  &kp DOLLAR    &kp PERCENT                                          &kp LS(N6)  &kp LS(N7)  &kp LS(N8)  &kp LS(N9)  &kp LS(EQUAL)
&kp N1                  &kp N2      &kp N3                        &kp N4        &kp N5       &trans         &kp DOT                  &kp N6      &kp N7      &kp N8      &kp N9      &kp N0
&mt_z LEFT_SHIFT SLASH  &kp MINUS   &kp LS(SQT)                   &kp LS(SEMI)  &kp EQUAL    &kp MINUS      &kp LS(INTERNATIONAL_3)  &kp SEMI    &kp SQT     &kp RCTRL   &trans      &trans
&trans                  &trans      &trans                        &trans        &trans       &trans         &kp DELETE               &kp DEL                                         &kp INT1
            >;

            sensor-bindings = <&inc_dec_kp LC(KP_PLUS) LC(KP_MINUS)>;
        };

        FOLD_ARROW {
            bindings = <
&macro_ctrl_k_kp LC(N1)  &macro_ctrl_k_kp LC(N2)  &macro_ctrl_k_kp LC(N3)  &macro_ctrl_k_kp LC(N4)  &macro_ctrl_k_kp LC(J)                                             &mt_norepeat LC(LS(T)) LC(T)  &mt_norepeat LC(PAGE_UP) LC(LS(TAB))  &kp UP_ARROW           &mt_norepeat LC(PAGE_DOWN) LC(TAB)  &mt_norepeat LC(W) ESCAPE
&kp LA(LS(N1))           &kp LA(LS(N2))           &kp LA(LS(N3))           &kp LA(LS(N4))           &kp LA(LS(N0))          &trans                    &kp TAB          &kp LEFT_WIN                  &kp LEFT                              &kp DOWN               &kp RIGHT                           &kp RCTRL
&kp LEFT_SHIFT           &trans                   &trans                   &trans                   &trans                  &sc_sel_cut_line 0 0      &kp DEL          &kp LA(UP_ARROW)              &mat_home_end_select HOME HOME        &sc_sel_line_none 0 0  &mat_home_end_select END END        &kp RIGHT_SHIFT
&trans                   &trans                   &trans                   &kp LS(TAB)              &kp TAB                 &kp LEFT_WIN              &kp RIGHT_SHIFT  &trans                                                                                                                         &trans
            >;

            sensor-bindings = <&inc_dec_kp LC(KP_PLUS) LC(KP_MINUS)>;
        };

        FUNCTION_APP_MEDIA {
            bindings = <
&macro_capture   &macro_teams  &macro_outlook    &macro_browser  &macro_copy_url                                                  &macro_word       &macro_excel  &macro_powerpoint  &ap_vscode 0 0  &ap_editor 0 0
&kp F1           &kp F2        &kp F3            &kp F4          &kp F5           &trans                       &macro_calculator  &kp F6            &kp F7        &kp F8             &kp F9          &kp F10
&kp C_STOP       &kp C_PREV    &kp C_PLAY_PAUSE  &kp C_NEXT      &kp C_MUTE       &mt LG(LA(T)) LC(LS(M))      &ap_music 0 0      &kp F11           &kp F12       &trans             &trans          &trans
&kp PRINTSCREEN  &trans        &trans            &trans          &trans           &trans                       &ap_onenote 0 0    &ap_explorer 0 0                                                   &macro_todo
            >;

            sensor-bindings = <&inc_dec_kp C_VOLUME_UP C_VOLUME_DOWN>;
        };

        TEXT_EDIT {
            bindings = <
&kp LC(N1)           &kp LC(N2)           &kp LC(N3)           &kp LC(N4)      &kp LC(N0)                                 &trans  &macro_text_deco U  &kp LS(LA(UP))      &macro_text_deco N  &trans
&kp LC(LA(N1))       &kp LC(LA(N2))       &kp LC(LA(N3))       &kp LC(LA(N4))  &kp LC(LA(N0))  &trans             &trans  &trans  &kp LS(LA(LEFT))    &kp LS(LA(DOWN))    &kp LS(LA(RIGHT))   &trans
&trans               &trans               &kp LS(LC(C))        &kp LS(LC(V))   &kp LC(B)       &kp LS(LC(H))      &trans  &trans  &macro_text_color   &macro_text_deco H  &kp LC(DOT)         &kp LC(FSLH)
&macro_text_align L  &macro_text_align C  &macro_text_align R  &trans          &trans          &trans             &trans  &trans                                                              &trans
            >;

            sensor-bindings = <&inc_dec_kp LC(LS(PERIOD)) LC(LS(COMMA))>;
        };

        BT_TEN_KEYS {
            bindings = <
&macro_bt 0 0  &macro_bt 1 0  &macro_bt 2 1  &macro_bt 3 0  &macro_bt 4 1                           &kp SQT       &kp N7  &kp N8  &kp N9  &kp TAB
&to 0          &to 1          &trans         &trans         &trans         &trans      &kp SLASH    &kp MINUS     &kp N4  &kp N5  &kp N6  &kp ENTER
&trans         &trans         &trans         &trans         &trans         &trans      &kp LS(SQT)  &kp LS(SEMI)  &kp N1  &kp N2  &kp N3  &kp DOT
&bt BT_CLR     &trans         &trans         &trans         &trans         &trans      &trans       &kp N0                                &trans
            >;

            sensor-bindings = <&inc_dec_kp UP_ARROW DOWN_ARROW>;
        };

        APPLICATION {
            bindings = <
&trans  &trans  &trans  &trans  &trans                      &trans  &trans  &trans  &trans  &trans
&trans  &trans  &trans  &trans  &trans  &trans      &trans  &trans  &trans  &trans  &trans  &trans
&trans  &trans  &trans  &trans  &trans  &trans      &trans  &trans  &trans  &trans  &trans  &trans
&trans  &trans  &trans  &trans  &trans  &trans      &trans  &trans                          &trans
            >;
        };
    };
};
